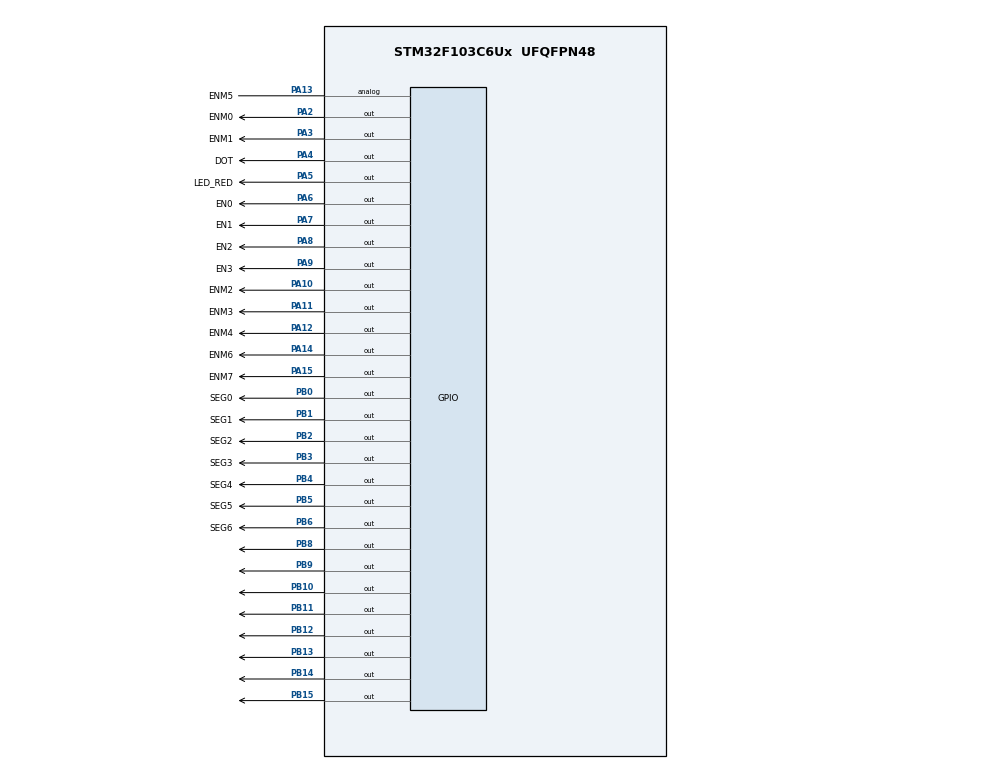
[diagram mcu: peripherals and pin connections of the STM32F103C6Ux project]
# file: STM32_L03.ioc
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Mcu.Family=STM32F1
Mcu.Name=STM32F103C6Ux
Mcu.Package=UFQFPN48
NVIC.PriorityGroup=NVIC_PRIORITYGROUP_4
NVIC.TIM2_IRQn=true\:0\:0\:false\:false\:true\:true\:true
PA10.GPIO_Label=ENM2
PA10.Signal=GPIO_Output
PA11.GPIO_Label=ENM3
PA11.Signal=GPIO_Output
PA12.GPIO_Label=ENM4
PA12.Signal=GPIO_Output
PA13.GPIO_Label=ENM5
PA13.Signal=GPIO_Analog
PA14.GPIO_Label=ENM6
PA14.Signal=GPIO_Output
PA15.GPIO_Label=ENM7
PA15.Signal=GPIO_Output
PA2.GPIO_Label=ENM0
PA2.Signal=GPIO_Output
PA3.GPIO_Label=ENM1
PA3.Signal=GPIO_Output
PA4.GPIO_Label=DOT
PA4.Signal=GPIO_Output
PA5.GPIO_Label=LED_RED
PA5.Signal=GPIO_Output
PA6.GPIO_Label=EN0
PA6.Signal=GPIO_Output
PA7.GPIO_Label=EN1
PA7.Signal=GPIO_Output
PA8.GPIO_Label=EN2
PA8.Signal=GPIO_Output
PA9.GPIO_Label=EN3
PA9.Signal=GPIO_Output
PB0.GPIO_Label=SEG0
PB0.Signal=GPIO_Output
PB1.GPIO_Label=SEG1
PB1.Signal=GPIO_Output
PB10.Signal=GPIO_Output
PB11.Signal=GPIO_Output
PB12.Signal=GPIO_Output
PB13.Signal=GPIO_Output
PB14.Signal=GPIO_Output
PB15.Signal=GPIO_Output
PB2.GPIO_Label=SEG2
PB2.Signal=GPIO_Output
PB3.GPIO_Label=SEG3
PB3.Signal=GPIO_Output
PB4.GPIO_Label=SEG4
PB4.Signal=GPIO_Output
PB5.GPIO_Label=SEG5
PB5.Signal=GPIO_Output
PB6.GPIO_Label=SEG6
PB6.Signal=GPIO_Output
PB8.Signal=GPIO_Output
PB9.Signal=GPIO_Output
ProjectManager.HeapSize=0x200
ProjectManager.StackSize=0x400
ProjectManager.TargetToolchain=STM32CubeIDE
RCC.APB1Freq_Value=8000000
RCC.APB2Freq_Value=8000000
TIM2.Period=9
TIM2.Prescaler=7999
VP_SYS_VS_ND.Mode=No_Debug
VP_TIM2_VS_ClockSourceINT.Mode=Internal
board=custom

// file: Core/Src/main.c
/* USER CODE BEGIN Header */
/**
  ******************************************************************************
  * @file           : main.c
  * @brief          : Main program body
  ******************************************************************************
  * @attention
  *
  * <h2><center>&copy; Copyright (c) 2022 STMicroelectronics.
  * All rights reserved.</center></h2>
  *
  * This software component is licensed by ST under BSD 3-Clause license,
  * the "License"; You may not use this file except in compliance with the
  * License. You may obtain a copy of the License at:
  *                        opensource.org/licenses/BSD-3-Clause
  *
  ******************************************************************************
  */
/* USER CODE END Header */
#include "main.h"

/* USER CODE BEGIN Includes */
#include "global.h"
/* USER CODE END Includes */

TIM_HandleTypeDef htim2;

void SystemClock_Config(void);
static void MX_GPIO_Init(void);
static void MX_TIM2_Init(void);

/* USER CODE BEGIN 0 */
void display7SEG(int num) {
	switch (num) {
		case 0:
			HAL_GPIO_WritePin(GPIOB, 0B0111111, GPIO_PIN_RESET);
			HAL_GPIO_WritePin(GPIOB, 0B1000000, GPIO_PIN_SET);
			break;
		case 1:
			HAL_GPIO_WritePin(GPIOB, 0B0000110, GPIO_PIN_RESET);
			HAL_GPIO_WritePin(GPIOB, 0B1111001, GPIO_PIN_SET);
			break;
		case 2:
			HAL_GPIO_WritePin(GPIOB, 0B1011011, GPIO_PIN_RESET);
			HAL_GPIO_WritePin(GPIOB, 0B0100100, GPIO_PIN_SET);
			break;
		case 3:
			HAL_GPIO_WritePin(GPIOB, 0B1001111, GPIO_PIN_RESET);
			HAL_GPIO_WritePin(GPIOB, 0B0110000, GPIO_PIN_SET);
			break;
		case 4:
			HAL_GPIO_WritePin(GPIOB, 0B1100110, GPIO_PIN_RESET);
			HAL_GPIO_WritePin(GPIOB, 0B0011001, GPIO_PIN_SET);
			break;
		case 5:
			HAL_GPIO_WritePin(GPIOB, 0B1101101, GPIO_PIN_RESET);
			HAL_GPIO_WritePin(GPIOB, 0B0010010, GPIO_PIN_SET);
			break;
		case 6:
			HAL_GPIO_WritePin(GPIOB, 0B1111101, GPIO_PIN_RESET);
			HAL_GPIO_WritePin(GPIOB, 0B0000010, GPIO_PIN_SET);
			break;
		case 7:
			HAL_GPIO_WritePin(GPIOB, 0B0000111, GPIO_PIN_RESET);
			HAL_GPIO_WritePin(GPIOB, 0B1111000, GPIO_PIN_SET);
			break;
		case 8:
			HAL_GPIO_WritePin(GPIOB, 0B1111111, GPIO_PIN_RESET);
			break;
		case 9:
			HAL_GPIO_WritePin(GPIOB, 0B1101111, GPIO_PIN_RESET);
			HAL_GPIO_WritePin(GPIOB, 0B0010000, GPIO_PIN_SET);
			break;
		default:
			HAL_GPIO_WritePin(GPIOB, 0B1111111, GPIO_PIN_SET);
			break;
	}
}

const int MAX_LED = 4;
int index_led = 0;
int led_buffer[4] = {1, 2, 3, 4};
void update7SEG(int index){
    switch (index){
        case 0:
            //Display the first 7SEG with led_buffer[0]
            display7SEG(led_buffer[0]);
            break;
        case 1:
            //Display the second 7SEG with led_buffer[1]
            display7SEG(led_buffer[1]);
            break;
        case 2:
            //Display the third 7SEG with led_buffer[2]
            display7SEG(led_buffer[2]);
            break;
        case 3:
            //Display the forth 7SEG with led_buffer[3]
            display7SEG(led_buffer[3]);
            break;
        default:
            break;
    }
}

int hour = 15, minute = 8, second = 50;
void updateClockBuffer(void) {
	led_buffer[0] = hour / 10;
	led_buffer[1] = hour % 10;
	led_buffer[2] = minute / 10;
	led_buffer[3] = minute % 10;
}

const int MAX_LED_MATRIX = 8;
int index_led_matrix = 0;
int index_shift = 0;
uint8_t matrix_buffer[24] = {
		0x00, 0x00, 0x00, 0x00, 0x00, 0x00, 0x00, 0x00,
		0x00, 0xFC, 0xFE, 0x33, 0x33, 0xFE, 0xFC, 0x00,
		0x00, 0x00, 0x00, 0x00, 0x00, 0x00, 0x00, 0x00
};
void updateLEDMatrix(int index){
    switch (index){
        case 0:
        	// Set bits for ROW0
        	HAL_GPIO_WritePin(GPIOB, matrix_buffer[0 + index_shift] << 8, GPIO_PIN_RESET);
        	HAL_GPIO_WritePin(GPIOB, (~matrix_buffer[0 + index_shift]) << 8, GPIO_PIN_SET);
            break;
        case 1:
        	// Set bits for ROW1
        	HAL_GPIO_WritePin(GPIOB, matrix_buffer[1 + index_shift] << 8, GPIO_PIN_RESET);
        	HAL_GPIO_WritePin(GPIOB, (~matrix_buffer[1 + index_shift]) << 8, GPIO_PIN_SET);
            break;
        case 2:
        	// Set bits for ROW2
        	HAL_GPIO_WritePin(GPIOB, matrix_buffer[2 + index_shift] << 8, GPIO_PIN_RESET);
        	HAL_GPIO_WritePin(GPIOB, (~matrix_buffer[2 + index_shift]) << 8, GPIO_PIN_SET);
            break;
        case 3:
        	// Set bits for ROW3
        	HAL_GPIO_WritePin(GPIOB, matrix_buffer[3 + index_shift] << 8, GPIO_PIN_RESET);
        	HAL_GPIO_WritePin(GPIOB, (~matrix_buffer[3 + index_shift]) << 8, GPIO_PIN_SET);
            break;
        case 4:
        	// Set bits for ROW4
        	HAL_GPIO_WritePin(GPIOB, matrix_buffer[4 + index_shift] << 8, GPIO_PIN_RESET);
        	HAL_GPIO_WritePin(GPIOB, (~matrix_buffer[4 + index_shift]) << 8, GPIO_PIN_SET);
            break;
        case 5:
        	// Set bits for ROW5
        	HAL_GPIO_WritePin(GPIOB, matrix_buffer[5 + index_shift] << 8, GPIO_PIN_RESET);
        	HAL_GPIO_WritePin(GPIOB, (~matrix_buffer[5 + index_shift]) << 8, GPIO_PIN_SET);
            break;
        case 6:
        	// Set bits for ROW6
        	HAL_GPIO_WritePin(GPIOB, matrix_buffer[6 + index_shift] << 8, GPIO_PIN_RESET);
        	HAL_GPIO_WritePin(GPIOB, (~matrix_buffer[6 + index_shift]) << 8, GPIO_PIN_SET);
            break;
        case 7:
        	// Set bits for ROW7
        	HAL_GPIO_WritePin(GPIOB, matrix_buffer[7 + index_shift] << 8, GPIO_PIN_RESET);
        	HAL_GPIO_WritePin(GPIOB, (~matrix_buffer[7 + index_shift]) << 8, GPIO_PIN_SET);
            break;
        default:
            break;
    }
}
/* USER CODE END 0 */

int main(void)
{

  /* MCU Configuration--------------------------------------------------------*/

  /* Reset of all peripherals, Initializes the Flash interface and the Systick. */
  HAL_Init();

  /* Configure the system clock */
  SystemClock_Config();

  /* Initialize all configured peripherals */
  MX_GPIO_Init();
  MX_TIM2_Init();
  /* USER CODE BEGIN 2 */
  HAL_TIM_Base_Start_IT(&htim2);
  /* USER CODE END 2 */

  /* Infinite loop */
  /* USER CODE BEGIN WHILE */
  setTimer0(LED_time);
  setTimer1(SEG_switching_time);
  setTimer2(matrix_scanning_time);

  while (1)
  {
	  // Blink LED every second
	  if (timer0_flag == 1) {
		  HAL_GPIO_TogglePin(LED_RED_GPIO_Port, LED_RED_Pin);
		  HAL_GPIO_TogglePin(DOT_GPIO_Port, DOT_Pin);

		  setTimer0(LED_time);
		  second++;
	  }

	  // Update clock buffer
		if (second >= 60){
			second = 0;
			minute++;
		}
		if (minute >= 60){
			minute = 0;
			hour++;
		}
		if (hour >= 24){
			hour = 0;
		}
		updateClockBuffer();

		if (index_led >= MAX_LED) index_led = 0;

		if (timer1_flag == 1) {
			// Clear all
			HAL_GPIO_WritePin(GPIOA, 0x03C0, GPIO_PIN_SET);

			switch (index_led) {
				case 0:
					// Choose 1st 7seg to display
					HAL_GPIO_WritePin(EN0_GPIO_Port, EN0_Pin, GPIO_PIN_RESET);
					break;
				case 1:
					// Choose 2nd 7seg to display
					HAL_GPIO_WritePin(EN1_GPIO_Port, EN1_Pin, GPIO_PIN_RESET);
					break;
				case 2:
					// Choose 3rd 7seg to display
					HAL_GPIO_WritePin(EN2_GPIO_Port, EN2_Pin, GPIO_PIN_RESET);
					break;
				case 3:
					// Choose 4th 7seg to display
					HAL_GPIO_WritePin(EN3_GPIO_Port, EN3_Pin, GPIO_PIN_RESET);
					break;
				default:
					break;
			}

			// Display the 7seg
			update7SEG(index_led++);

			// Set timer to switch
			setTimer1(SEG_switching_time);
		}

		if (index_led_matrix >= MAX_LED_MATRIX) {
			index_led_matrix = 0;
			index_shift++;
		}

		if (index_shift >= 16) index_shift = 0;

		if (timer2_flag == 1) {
			// Clear all
			HAL_GPIO_WritePin(GPIOA, 0xFC0C, GPIO_PIN_SET);

			switch (index_led_matrix) {
			case 0:
				// Set bits for COL0
				HAL_GPIO_WritePin(ENM0_GPIO_Port, ENM0_Pin, GPIO_PIN_RESET);
				break;
			case 1:
				// Set bits for COL1
				HAL_GPIO_WritePin(ENM1_GPIO_Port, ENM1_Pin, GPIO_PIN_RESET);
				break;
			case 2:
				// Set bits for COL2
				HAL_GPIO_WritePin(ENM2_GPIO_Port, ENM2_Pin, GPIO_PIN_RESET);
				break;
			case 3:
				// Set bits for COL3
				HAL_GPIO_WritePin(ENM3_GPIO_Port, ENM3_Pin, GPIO_PIN_RESET);
				break;
			case 4:
				// Set bits for COL4
				HAL_GPIO_WritePin(ENM4_GPIO_Port, ENM4_Pin, GPIO_PIN_RESET);
				break;
			case 5:
				// Set bits for COL5
				HAL_GPIO_WritePin(ENM5_GPIO_Port, ENM5_Pin, GPIO_PIN_RESET);
				break;
			case 6:
				// Set bits for COL6
				HAL_GPIO_WritePin(ENM6_GPIO_Port, ENM6_Pin, GPIO_PIN_RESET);
				break;
			case 7:
				// Set bits for COL7
				HAL_GPIO_WritePin(ENM7_GPIO_Port, ENM7_Pin, GPIO_PIN_RESET);
				break;
			default:
				break;
			}

			// Display matrix
			updateLEDMatrix(index_led_matrix++);

			// Set timer to scan
			setTimer2(matrix_scanning_time);
		}

    /* USER CODE END WHILE */

  }
}

void SystemClock_Config(void)
{
  RCC_OscInitTypeDef RCC_OscInitStruct = {0};
  RCC_ClkInitTypeDef RCC_ClkInitStruct = {0};

  /** Initializes the RCC Oscillators according to the specified parameters
  * in the RCC_OscInitTypeDef structure.
  */
  RCC_OscInitStruct.OscillatorType = RCC_OSCILLATORTYPE_HSI;
  RCC_OscInitStruct.HSIState = RCC_HSI_ON;
  RCC_OscInitStruct.HSICalibrationValue = RCC_HSICALIBRATION_DEFAULT;
  RCC_OscInitStruct.PLL.PLLState = RCC_PLL_NONE;
  if (HAL_RCC_OscConfig(&RCC_OscInitStruct) != HAL_OK)
  {
    Error_Handler();
  }
  /** Initializes the CPU, AHB and APB buses clocks
  */
  RCC_ClkInitStruct.ClockType = RCC_CLOCKTYPE_HCLK|RCC_CLOCKTYPE_SYSCLK
                              |RCC_CLOCKTYPE_PCLK1|RCC_CLOCKTYPE_PCLK2;
  RCC_ClkInitStruct.SYSCLKSource = RCC_SYSCLKSOURCE_HSI;
  RCC_ClkInitStruct.AHBCLKDivider = RCC_SYSCLK_DIV1;
  RCC_ClkInitStruct.APB1CLKDivider = RCC_HCLK_DIV1;
  RCC_ClkInitStruct.APB2CLKDivider = RCC_HCLK_DIV1;

  if (HAL_RCC_ClockConfig(&RCC_ClkInitStruct, FLASH_LATENCY_0) != HAL_OK)
  {
    Error_Handler();
  }
}

static void MX_TIM2_Init(void)
{

  TIM_ClockConfigTypeDef sClockSourceConfig = {0};
  TIM_MasterConfigTypeDef sMasterConfig = {0};

  htim2.Instance = TIM2;
  htim2.Init.Prescaler = 7999;
  htim2.Init.CounterMode = TIM_COUNTERMODE_UP;
  htim2.Init.Period = 9;
  htim2.Init.ClockDivision = TIM_CLOCKDIVISION_DIV1;
  htim2.Init.AutoReloadPreload = TIM_AUTORELOAD_PRELOAD_DISABLE;
  if (HAL_TIM_Base_Init(&htim2) != HAL_OK)
  {
    Error_Handler();
  }
  sClockSourceConfig.ClockSource = TIM_CLOCKSOURCE_INTERNAL;
  if (HAL_TIM_ConfigClockSource(&htim2, &sClockSourceConfig) != HAL_OK)
  {
    Error_Handler();
  }
  sMasterConfig.MasterOutputTrigger = TIM_TRGO_RESET;
  sMasterConfig.MasterSlaveMode = TIM_MASTERSLAVEMODE_DISABLE;
  if (HAL_TIMEx_MasterConfigSynchronization(&htim2, &sMasterConfig) != HAL_OK)
  {
    Error_Handler();
  }

}

static void MX_GPIO_Init(void)
{
  GPIO_InitTypeDef GPIO_InitStruct = {0};

  /* GPIO Ports Clock Enable */
  __HAL_RCC_GPIOA_CLK_ENABLE();
  __HAL_RCC_GPIOB_CLK_ENABLE();

  /*Configure GPIO pin Output Level */
  HAL_GPIO_WritePin(GPIOA, ENM0_Pin|ENM1_Pin|DOT_Pin|LED_RED_Pin
                          |EN0_Pin|EN1_Pin|EN2_Pin|EN3_Pin
                          |ENM2_Pin|ENM3_Pin|ENM4_Pin|ENM5_Pin
                          |ENM6_Pin|ENM7_Pin, GPIO_PIN_RESET);

  /*Configure GPIO pin Output Level */
  HAL_GPIO_WritePin(GPIOB, SEG0_Pin|SEG1_Pin|SEG2_Pin|GPIO_PIN_10
                          |GPIO_PIN_11|GPIO_PIN_12|GPIO_PIN_13|GPIO_PIN_14
                          |GPIO_PIN_15|SEG3_Pin|SEG4_Pin|SEG5_Pin
                          |SEG6_Pin|GPIO_PIN_8|GPIO_PIN_9, GPIO_PIN_RESET);

  /*Configure GPIO pins : ENM0_Pin ENM1_Pin DOT_Pin LED_RED_Pin
                           EN0_Pin EN1_Pin EN2_Pin EN3_Pin
                           ENM2_Pin ENM3_Pin ENM4_Pin ENM5_Pin
                           ENM6_Pin ENM7_Pin */
  GPIO_InitStruct.Pin = ENM0_Pin|ENM1_Pin|DOT_Pin|LED_RED_Pin
                          |EN0_Pin|EN1_Pin|EN2_Pin|EN3_Pin
                          |ENM2_Pin|ENM3_Pin|ENM4_Pin|ENM5_Pin
                          |ENM6_Pin|ENM7_Pin;
  GPIO_InitStruct.Mode = GPIO_MODE_OUTPUT_PP;
  GPIO_InitStruct.Pull = GPIO_NOPULL;
  GPIO_InitStruct.Speed = GPIO_SPEED_FREQ_LOW;
  HAL_GPIO_Init(GPIOA, &GPIO_InitStruct);

  /*Configure GPIO pins : SEG0_Pin SEG1_Pin SEG2_Pin PB10
                           PB11 PB12 PB13 PB14
                           PB15 SEG3_Pin SEG4_Pin SEG5_Pin
                           SEG6_Pin PB8 PB9 */
  GPIO_InitStruct.Pin = SEG0_Pin|SEG1_Pin|SEG2_Pin|GPIO_PIN_10
                          |GPIO_PIN_11|GPIO_PIN_12|GPIO_PIN_13|GPIO_PIN_14
                          |GPIO_PIN_15|SEG3_Pin|SEG4_Pin|SEG5_Pin
                          |SEG6_Pin|GPIO_PIN_8|GPIO_PIN_9;
  GPIO_InitStruct.Mode = GPIO_MODE_OUTPUT_PP;
  GPIO_InitStruct.Pull = GPIO_NOPULL;
  GPIO_InitStruct.Speed = GPIO_SPEED_FREQ_LOW;
  HAL_GPIO_Init(GPIOB, &GPIO_InitStruct);

}

/* USER CODE BEGIN 4 */
void HAL_TIM_PeriodElapsedCallback(TIM_HandleTypeDef *htim){
	timerRun0();
	timerRun1();
	timerRun2();
}
/* USER CODE END 4 */

void Error_Handler(void)
{
  __disable_irq();
  while (1)
  {
  }
}

/************************ (C) COPYRIGHT STMicroelectronics *****END OF FILE****/
